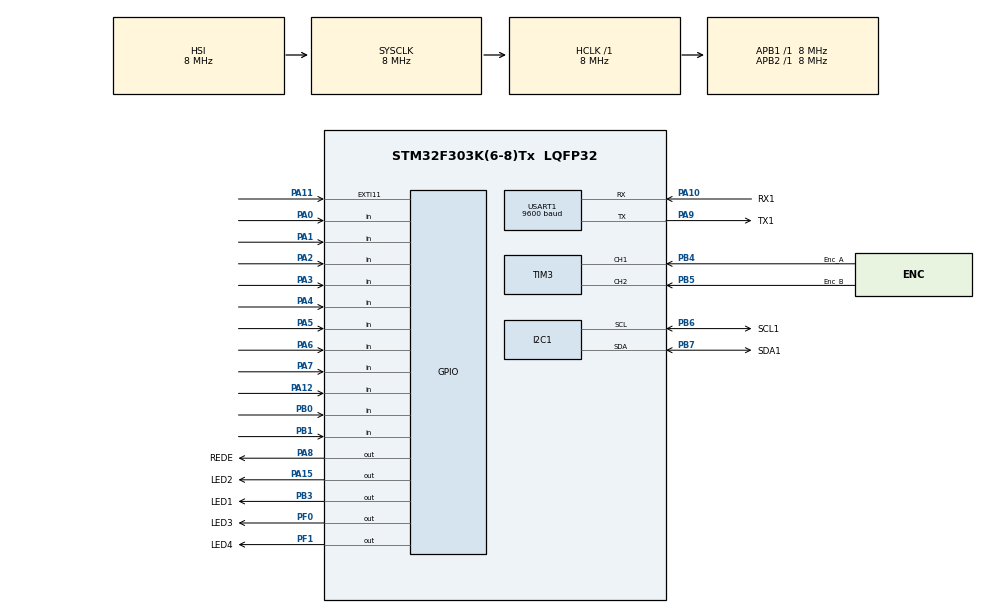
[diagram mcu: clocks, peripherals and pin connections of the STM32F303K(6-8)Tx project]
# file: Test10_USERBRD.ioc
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Dma.Request0=USART1_RX
Dma.Request1=USART1_TX
Dma.USART1_RX.0.Direction=DMA_PERIPH_TO_MEMORY
Dma.USART1_RX.0.Instance=DMA1_Channel5
Dma.USART1_RX.0.MemDataAlignment=DMA_MDATAALIGN_BYTE
Dma.USART1_RX.0.MemInc=DMA_MINC_ENABLE
Dma.USART1_RX.0.Mode=DMA_CIRCULAR
Dma.USART1_RX.0.PeriphDataAlignment=DMA_PDATAALIGN_BYTE
Dma.USART1_RX.0.PeriphInc=DMA_PINC_DISABLE
Dma.USART1_RX.0.Priority=DMA_PRIORITY_LOW
Dma.USART1_TX.1.Direction=DMA_MEMORY_TO_PERIPH
Dma.USART1_TX.1.Instance=DMA1_Channel4
Dma.USART1_TX.1.MemDataAlignment=DMA_MDATAALIGN_BYTE
Dma.USART1_TX.1.MemInc=DMA_MINC_ENABLE
Dma.USART1_TX.1.Mode=DMA_CIRCULAR
Dma.USART1_TX.1.PeriphDataAlignment=DMA_PDATAALIGN_BYTE
Dma.USART1_TX.1.PeriphInc=DMA_PINC_DISABLE
Dma.USART1_TX.1.Priority=DMA_PRIORITY_LOW
I2C1.Timing=0x2000090E
Mcu.Family=STM32F3
Mcu.Name=STM32F303K(6-8)Tx
Mcu.Package=LQFP32
NVIC.DMA1_Channel4_IRQn=true\:0\:0\:false\:true\:true\:1
NVIC.DMA1_Channel5_IRQn=true\:0\:0\:false\:true\:true\:2
NVIC.EXTI15_10_IRQn=true\:0\:0\:false\:true\:true\:4
NVIC.PriorityGroup=NVIC_PRIORITYGROUP_4
NVIC.TIM1_BRK_TIM15_IRQn=true\:0\:0\:false\:false\:true
NVIC.USART1_IRQn=true\:0\:0\:false\:true\:true\:3
PA0.Signal=GPIO_Input
PA1.Signal=GPIO_Input
PA10.GPIO_Label=RX1
PA10.Mode=Asynchronous
PA10.Signal=USART1_RX
PA11.Signal=GPXTI11
PA12.Signal=GPIO_Input
PA13.Mode=Serial_Wire
PA13.Signal=SYS_JTMS-SWDIO
PA14.Mode=Serial_Wire
PA14.Signal=SYS_JTCK-SWCLK
PA15.GPIO_Label=LED2
PA15.Signal=GPIO_Output
PA2.Signal=GPIO_Input
PA3.Signal=GPIO_Input
PA4.Signal=GPIO_Input
PA5.Signal=GPIO_Input
PA6.Signal=GPIO_Input
PA7.Signal=GPIO_Input
PA8.GPIO_Label=REDE
PA8.Signal=GPIO_Output
PA9.GPIO_Label=TX1
PA9.Mode=Asynchronous
PA9.Signal=USART1_TX
PB0.Signal=GPIO_Input
PB1.Signal=GPIO_Input
PB3.GPIO_Label=LED1
PB3.Signal=GPIO_Output
PB4.GPIO_Label=Enc_A
PB4.GPIO_PuPd=GPIO_PULLUP
PB4.Signal=S_TIM3_CH1
PB5.GPIO_Label=Enc_B
PB5.GPIO_PuPd=GPIO_PULLUP
PB5.Signal=S_TIM3_CH2
PB6.GPIO_Label=SCL1
PB6.Mode=I2C
PB6.Signal=I2C1_SCL
PB7.GPIO_Label=SDA1
PB7.Mode=I2C
PB7.Signal=I2C1_SDA
PF0\ /\ OSC_IN.GPIO_Label=LED3
PF0\ /\ OSC_IN.Signal=GPIO_Output
PF1\ /\ OSC_OUT.GPIO_Label=LED4
PF1\ /\ OSC_OUT.Signal=GPIO_Output
ProjectManager.HeapSize=0x200
ProjectManager.StackSize=0x400
ProjectManager.TargetToolchain=SW4STM32
RCC.AHBFreq_Value=8000000
RCC.APB1Freq_Value=8000000
RCC.APB2Freq_Value=8000000
RCC.CortexFreq_Value=8000000
RCC.HSE_VALUE=8000000
RCC.HSI_VALUE=8000000
RCC.SYSCLKFreq_VALUE=8000000
SH.S_TIM3_CH1.0=TIM3_CH1,Encoder_Interface
SH.S_TIM3_CH2.0=TIM3_CH2,Encoder_Interface
TIM15.Period=1000
TIM15.Prescaler=8000
USART1.BaudRate=9600
USART1.WordLength=UART_WORDLENGTH_8B
VP_TIM15_VS_ClockSourceINT.Mode=Internal
board=Test10_USERBRD

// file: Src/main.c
/**
  ******************************************************************************
  * File Name          : main.c
  * Description        : Main program body
  ******************************************************************************
  *
  * COPYRIGHT(c) 2017 STMicroelectronics
  *
  * Redistribution and use in source and binary forms, with or without modification,
  * are permitted provided that the following conditions are met:
  *   1. Redistributions of source code must retain the above copyright notice,
  *      this list of conditions and the following disclaimer.
  *   2. Redistributions in binary form must reproduce the above copyright notice,
  *      this list of conditions and the following disclaimer in the documentation
  *      and/or other materials provided with the distribution.
  *   3. Neither the name of STMicroelectronics nor the names of its contributors
  *      may be used to endorse or promote products derived from this software
  *      without specific prior written permission.
  *
  * THIS SOFTWARE IS PROVIDED BY THE COPYRIGHT HOLDERS AND CONTRIBUTORS "AS IS"
  * AND ANY EXPRESS OR IMPLIED WARRANTIES, INCLUDING, BUT NOT LIMITED TO, THE
  * IMPLIED WARRANTIES OF MERCHANTABILITY AND FITNESS FOR A PARTICULAR PURPOSE ARE
  * DISCLAIMED. IN NO EVENT SHALL THE COPYRIGHT HOLDER OR CONTRIBUTORS BE LIABLE
  * FOR ANY DIRECT, INDIRECT, INCIDENTAL, SPECIAL, EXEMPLARY, OR CONSEQUENTIAL
  * DAMAGES (INCLUDING, BUT NOT LIMITED TO, PROCUREMENT OF SUBSTITUTE GOODS OR
  * SERVICES; LOSS OF USE, DATA, OR PROFITS; OR BUSINESS INTERRUPTION) HOWEVER
  * CAUSED AND ON ANY THEORY OF LIABILITY, WHETHER IN CONTRACT, STRICT LIABILITY,
  * OR TORT (INCLUDING NEGLIGENCE OR OTHERWISE) ARISING IN ANY WAY OUT OF THE USE
  * OF THIS SOFTWARE, EVEN IF ADVISED OF THE POSSIBILITY OF SUCH DAMAGE.
  *
  ******************************************************************************
  */
#include "main.h"
#include "stm32f3xx_hal.h"

/* USER CODE BEGIN Includes */
#include<strings.h>
//#define debug_print(dat,fmt,...) sprintf(dat,fmt,__VA_ARGS__);HAL_UART_Transmit(&huart1,dat,strlen(dat),1)
/* USER CODE END Includes */

I2C_HandleTypeDef hi2c1;

TIM_HandleTypeDef htim3;
TIM_HandleTypeDef htim15;

UART_HandleTypeDef huart1;
DMA_HandleTypeDef hdma_usart1_rx;
DMA_HandleTypeDef hdma_usart1_tx;

/* USER CODE BEGIN PV */
/* Private variables ---------------------------------------------------------*/
enum{
	ON = 1,
	OFF = 0,
	TX_SIZE = 1024,
	ACX = 0x3b,
	ACY = 0x3d,
	ACZ = 0x3f,
	GYR = 0x43,
	GYP = 0x45,
	GYY = 0x47
};
enum{
	GYR_RANGE_250DPS=0,
	GYR_RANGE_500DPS=1,
	GYR_RANGE_1000DPS=2,
	GYR_RANGE_2000DPS=3
};
enum{
	ACC_RANGE_2G=0,
	ACC_RANGE_4G=1,
	ACC_RANGE_8G=2,
	ACC_RANGE_16G=3
};
float angle =0.0;
uint8_t data[TX_SIZE];
uint8_t PROGRAM_START_flg = OFF;
/* USER CODE END PV */

void SystemClock_Config(void);
void Error_Handler(void);
static void MX_GPIO_Init(void);
static void MX_DMA_Init(void);
static void MX_I2C1_Init(void);
static void MX_TIM3_Init(void);
static void MX_TIM15_Init(void);
static void MX_USART1_UART_Init(void);
static void MX_NVIC_Init(void);

/* USER CODE BEGIN PFP */
/* Private function prototypes -----------------------------------------------*/
int16_t MPU6050_Read16bit(uint8_t addr);
int16_t MPU6050_GetGyroR(void);
int16_t MPU6050_GetGyroP(void);
int16_t MPU6050_GetGyroY(void);
int16_t MPU6050_GetAccX(void);
int16_t MPU6050_GetAccY(void);
int16_t MPU6050_GetAccZ(void);
void MPU6050_Setup(uint8_t Gyrange,uint8_t Acrange);
uint8_t MPU6050_WhoAmI();
void calc_MPU();
/* USER CODE END PFP */

/* USER CODE BEGIN 0 */

/*---------------------------------------------------------------------------------------------*/
/* USER CODE END 0 */

int main(void)
{

  /* USER CODE BEGIN 1 */
	uint8_t i=0;
	uint8_t send=0;
	uint8_t tmp[]={0,0};
	uint8_t read[]={0x00,0x00,0x00};
	int16_t accel[]={0,0,0};
	int16_t gyro[]={0,0,0};
  /* USER CODE END 1 */

  /* MCU Configuration----------------------------------------------------------*/

  /* Reset of all peripherals, Initializes the Flash interface and the Systick. */
  HAL_Init();

  /* Configure the system clock */
  SystemClock_Config();

  /* Initialize all configured peripherals */
  MX_GPIO_Init();
  MX_DMA_Init();
  MX_I2C1_Init();
  MX_TIM3_Init();
  MX_TIM15_Init();
  MX_USART1_UART_Init();

  /* Initialize interrupts */
  MX_NVIC_Init();

  /* USER CODE BEGIN 2 */
	while(PROGRAM_START_flg == OFF);
	HAL_TIM_Base_Start_IT(&htim15);

	MPU6050_WhoAmI();
	MPU6050_Setup(GYR_RANGE_2000DPS,ACC_RANGE_8G);

  /* USER CODE END 2 */

  /* Infinite loop */
  /* USER CODE BEGIN WHILE */

	HAL_GPIO_WritePin(LED3_GPIO_Port,LED3_Pin,GPIO_PIN_RESET);
	HAL_GPIO_WritePin(LED4_GPIO_Port,LED4_Pin,GPIO_PIN_SET);
  while (PROGRAM_START_flg == ON)
 	{
		HAL_GPIO_TogglePin(LED3_GPIO_Port,LED3_Pin);
		HAL_GPIO_TogglePin(LED4_GPIO_Port,LED4_Pin);
		HAL_Delay(100);
  /* USER CODE END WHILE */

 	/* USER CODE BEGIN 3 */
		gyro[2] = MPU6050_GetGyroY();
		sprintf(data,"%ld\n",(int16_t)(angle));
		HAL_UART_Transmit(&huart1,data,strlen(data),1);
  }
/*---------------------------------------------------------------------------------------------*/
  /* USER CODE END 3 */

}
/** System Clock Configuration
*/
void SystemClock_Config(void)
{

  RCC_OscInitTypeDef RCC_OscInitStruct;
  RCC_ClkInitTypeDef RCC_ClkInitStruct;
  RCC_PeriphCLKInitTypeDef PeriphClkInit;

    /**Initializes the CPU, AHB and APB busses clocks
    */
  RCC_OscInitStruct.OscillatorType = RCC_OSCILLATORTYPE_HSI;
  RCC_OscInitStruct.HSIState = RCC_HSI_ON;
  RCC_OscInitStruct.HSICalibrationValue = 16;
  RCC_OscInitStruct.PLL.PLLState = RCC_PLL_NONE;
  if (HAL_RCC_OscConfig(&RCC_OscInitStruct) != HAL_OK)
  {
    Error_Handler();
  }

    /**Initializes the CPU, AHB and APB busses clocks
    */
  RCC_ClkInitStruct.ClockType = RCC_CLOCKTYPE_HCLK|RCC_CLOCKTYPE_SYSCLK
                              |RCC_CLOCKTYPE_PCLK1|RCC_CLOCKTYPE_PCLK2;
  RCC_ClkInitStruct.SYSCLKSource = RCC_SYSCLKSOURCE_HSI;
  RCC_ClkInitStruct.AHBCLKDivider = RCC_SYSCLK_DIV1;
  RCC_ClkInitStruct.APB1CLKDivider = RCC_HCLK_DIV1;
  RCC_ClkInitStruct.APB2CLKDivider = RCC_HCLK_DIV1;

  if (HAL_RCC_ClockConfig(&RCC_ClkInitStruct, FLASH_LATENCY_0) != HAL_OK)
  {
    Error_Handler();
  }

  PeriphClkInit.PeriphClockSelection = RCC_PERIPHCLK_USART1|RCC_PERIPHCLK_I2C1;
  PeriphClkInit.Usart1ClockSelection = RCC_USART1CLKSOURCE_PCLK1;
  PeriphClkInit.I2c1ClockSelection = RCC_I2C1CLKSOURCE_HSI;
  if (HAL_RCCEx_PeriphCLKConfig(&PeriphClkInit) != HAL_OK)
  {
    Error_Handler();
  }

    /**Configure the Systick interrupt time
    */
  HAL_SYSTICK_Config(HAL_RCC_GetHCLKFreq()/1000);

    /**Configure the Systick
    */
  HAL_SYSTICK_CLKSourceConfig(SYSTICK_CLKSOURCE_HCLK);

  /* SysTick_IRQn interrupt configuration */
  HAL_NVIC_SetPriority(SysTick_IRQn, 0, 0);
}

/** NVIC Configuration
*/
static void MX_NVIC_Init(void)
{
  /* DMA1_Channel4_IRQn interrupt configuration */
  HAL_NVIC_SetPriority(DMA1_Channel4_IRQn, 0, 0);
  HAL_NVIC_EnableIRQ(DMA1_Channel4_IRQn);
  /* DMA1_Channel5_IRQn interrupt configuration */
  HAL_NVIC_SetPriority(DMA1_Channel5_IRQn, 0, 0);
  HAL_NVIC_EnableIRQ(DMA1_Channel5_IRQn);
  /* USART1_IRQn interrupt configuration */
  HAL_NVIC_SetPriority(USART1_IRQn, 0, 0);
  HAL_NVIC_EnableIRQ(USART1_IRQn);
  /* EXTI15_10_IRQn interrupt configuration */
  HAL_NVIC_SetPriority(EXTI15_10_IRQn, 0, 0);
  HAL_NVIC_EnableIRQ(EXTI15_10_IRQn);
}

/* I2C1 init function */
static void MX_I2C1_Init(void)
{

  hi2c1.Instance = I2C1;
  hi2c1.Init.Timing = 0x2000090E;
  hi2c1.Init.OwnAddress1 = 0;
  hi2c1.Init.AddressingMode = I2C_ADDRESSINGMODE_7BIT;
  hi2c1.Init.DualAddressMode = I2C_DUALADDRESS_DISABLE;
  hi2c1.Init.OwnAddress2 = 0;
  hi2c1.Init.OwnAddress2Masks = I2C_OA2_NOMASK;
  hi2c1.Init.GeneralCallMode = I2C_GENERALCALL_DISABLE;
  hi2c1.Init.NoStretchMode = I2C_NOSTRETCH_DISABLE;
  if (HAL_I2C_Init(&hi2c1) != HAL_OK)
  {
    Error_Handler();
  }

    /**Configure Analogue filter
    */
  if (HAL_I2CEx_ConfigAnalogFilter(&hi2c1, I2C_ANALOGFILTER_ENABLE) != HAL_OK)
  {
    Error_Handler();
  }

}

/* TIM3 init function */
static void MX_TIM3_Init(void)
{

  TIM_Encoder_InitTypeDef sConfig;
  TIM_MasterConfigTypeDef sMasterConfig;

  htim3.Instance = TIM3;
  htim3.Init.Prescaler = 0;
  htim3.Init.CounterMode = TIM_COUNTERMODE_UP;
  htim3.Init.Period = 0;
  htim3.Init.ClockDivision = TIM_CLOCKDIVISION_DIV1;
  sConfig.EncoderMode = TIM_ENCODERMODE_TI1;
  sConfig.IC1Polarity = TIM_ICPOLARITY_RISING;
  sConfig.IC1Selection = TIM_ICSELECTION_DIRECTTI;
  sConfig.IC1Prescaler = TIM_ICPSC_DIV1;
  sConfig.IC1Filter = 0;
  sConfig.IC2Polarity = TIM_ICPOLARITY_RISING;
  sConfig.IC2Selection = TIM_ICSELECTION_DIRECTTI;
  sConfig.IC2Prescaler = TIM_ICPSC_DIV1;
  sConfig.IC2Filter = 0;
  if (HAL_TIM_Encoder_Init(&htim3, &sConfig) != HAL_OK)
  {
    Error_Handler();
  }

  sMasterConfig.MasterOutputTrigger = TIM_TRGO_RESET;
  sMasterConfig.MasterSlaveMode = TIM_MASTERSLAVEMODE_DISABLE;
  if (HAL_TIMEx_MasterConfigSynchronization(&htim3, &sMasterConfig) != HAL_OK)
  {
    Error_Handler();
  }

}

/* TIM15 init function */
static void MX_TIM15_Init(void)
{

  TIM_ClockConfigTypeDef sClockSourceConfig;
  TIM_MasterConfigTypeDef sMasterConfig;

  htim15.Instance = TIM15;
  htim15.Init.Prescaler = 8000;
  htim15.Init.CounterMode = TIM_COUNTERMODE_UP;
  htim15.Init.Period = 10;
  htim15.Init.ClockDivision = TIM_CLOCKDIVISION_DIV1;
  htim15.Init.RepetitionCounter = 0;
  if (HAL_TIM_Base_Init(&htim15) != HAL_OK)
  {
    Error_Handler();
  }

  sClockSourceConfig.ClockSource = TIM_CLOCKSOURCE_INTERNAL;
  if (HAL_TIM_ConfigClockSource(&htim15, &sClockSourceConfig) != HAL_OK)
  {
    Error_Handler();
  }

  sMasterConfig.MasterOutputTrigger = TIM_TRGO_RESET;
  sMasterConfig.MasterSlaveMode = TIM_MASTERSLAVEMODE_DISABLE;
  if (HAL_TIMEx_MasterConfigSynchronization(&htim15, &sMasterConfig) != HAL_OK)
  {
    Error_Handler();
  }

}

/* USART1 init function */
static void MX_USART1_UART_Init(void)
{

  huart1.Instance = USART1;
  huart1.Init.BaudRate = 9600;
  huart1.Init.WordLength = UART_WORDLENGTH_8B;
  huart1.Init.StopBits = UART_STOPBITS_1;
  huart1.Init.Parity = UART_PARITY_NONE;
  huart1.Init.Mode = UART_MODE_TX_RX;
  huart1.Init.HwFlowCtl = UART_HWCONTROL_NONE;
  huart1.Init.OverSampling = UART_OVERSAMPLING_16;
  huart1.Init.OneBitSampling = UART_ONE_BIT_SAMPLE_DISABLE;
  huart1.AdvancedInit.AdvFeatureInit = UART_ADVFEATURE_NO_INIT;
  if (HAL_UART_Init(&huart1) != HAL_OK)
  {
    Error_Handler();
  }

}

static void MX_DMA_Init(void)
{
  /* DMA controller clock enable */
  __HAL_RCC_DMA1_CLK_ENABLE();

}

/** Configure pins as
        * Analog
        * Input
        * Output
        * EVENT_OUT
        * EXTI
*/
static void MX_GPIO_Init(void)
{

  GPIO_InitTypeDef GPIO_InitStruct;

  /* GPIO Ports Clock Enable */
  __HAL_RCC_GPIOF_CLK_ENABLE();
  __HAL_RCC_GPIOA_CLK_ENABLE();
  __HAL_RCC_GPIOB_CLK_ENABLE();

  /*Configure GPIO pin Output Level */
  HAL_GPIO_WritePin(GPIOF, LED3_Pin|LED4_Pin, GPIO_PIN_RESET);

  /*Configure GPIO pin Output Level */
  HAL_GPIO_WritePin(GPIOA, REDE_Pin|LED2_Pin, GPIO_PIN_RESET);

  /*Configure GPIO pin Output Level */
  HAL_GPIO_WritePin(LED1_GPIO_Port, LED1_Pin, GPIO_PIN_RESET);

  /*Configure GPIO pins : LED3_Pin LED4_Pin */
  GPIO_InitStruct.Pin = LED3_Pin|LED4_Pin;
  GPIO_InitStruct.Mode = GPIO_MODE_OUTPUT_PP;
  GPIO_InitStruct.Pull = GPIO_NOPULL;
  GPIO_InitStruct.Speed = GPIO_SPEED_FREQ_LOW;
  HAL_GPIO_Init(GPIOF, &GPIO_InitStruct);

  /*Configure GPIO pins : PA0 PA1 PA2 PA3
                           PA4 PA5 PA6 PA7
                           PA12 */
  GPIO_InitStruct.Pin = GPIO_PIN_0|GPIO_PIN_1|GPIO_PIN_2|GPIO_PIN_3
                          |GPIO_PIN_4|GPIO_PIN_5|GPIO_PIN_6|GPIO_PIN_7
                          |GPIO_PIN_12;
  GPIO_InitStruct.Mode = GPIO_MODE_INPUT;
  GPIO_InitStruct.Pull = GPIO_NOPULL;
  HAL_GPIO_Init(GPIOA, &GPIO_InitStruct);

  /*Configure GPIO pins : PB0 PB1 */
  GPIO_InitStruct.Pin = GPIO_PIN_0|GPIO_PIN_1;
  GPIO_InitStruct.Mode = GPIO_MODE_INPUT;
  GPIO_InitStruct.Pull = GPIO_NOPULL;
  HAL_GPIO_Init(GPIOB, &GPIO_InitStruct);

  /*Configure GPIO pins : REDE_Pin LED2_Pin */
  GPIO_InitStruct.Pin = REDE_Pin|LED2_Pin;
  GPIO_InitStruct.Mode = GPIO_MODE_OUTPUT_PP;
  GPIO_InitStruct.Pull = GPIO_NOPULL;
  GPIO_InitStruct.Speed = GPIO_SPEED_FREQ_LOW;
  HAL_GPIO_Init(GPIOA, &GPIO_InitStruct);

  /*Configure GPIO pin : PA11 */
  GPIO_InitStruct.Pin = GPIO_PIN_11;
  GPIO_InitStruct.Mode = GPIO_MODE_IT_RISING;
  GPIO_InitStruct.Pull = GPIO_NOPULL;
  HAL_GPIO_Init(GPIOA, &GPIO_InitStruct);

  /*Configure GPIO pin : LED1_Pin */
  GPIO_InitStruct.Pin = LED1_Pin;
  GPIO_InitStruct.Mode = GPIO_MODE_OUTPUT_PP;
  GPIO_InitStruct.Pull = GPIO_NOPULL;
  GPIO_InitStruct.Speed = GPIO_SPEED_FREQ_LOW;
  HAL_GPIO_Init(LED1_GPIO_Port, &GPIO_InitStruct);

}

/* USER CODE BEGIN 4 */
void calc_MPU(){
	angle += (((float)(MPU6050_GetGyroY()-50))/16.4)*0.01;
}
uint8_t MPU6050_WhoAmI(){
	uint8_t rx;
	//who_am_i
	HAL_I2C_Mem_Read(&hi2c1,0xD0,0x75,I2C_MEMADD_SIZE_8BIT,&rx,1,10);
	return rx;
}
void MPU6050_Setup(uint8_t Gyrange,uint8_t Acrange){
	uint8_t send;
	//SMPLRT_DIV
	send = 0x00;
	HAL_I2C_Mem_Write(&hi2c1,0xD0,0x19,I2C_MEMADD_SIZE_8BIT,&send,1,10);
	//PWR_MGMT_1
	send = 0x00;
	HAL_I2C_Mem_Write(&hi2c1,0xD0,0x6b,I2C_MEMADD_SIZE_8BIT,&send,1,10);
	//GYRO_CONFIG
	send = (Gyrange & 3) << 3;
	HAL_I2C_Mem_Write(&hi2c1,0xD0,0x1b,I2C_MEMADD_SIZE_8BIT,&send,1,10);
	//ACCEL_CONFIG
	send = (Acrange & 3) << 3;
	HAL_I2C_Mem_Write(&hi2c1,0xD0,0x1c,I2C_MEMADD_SIZE_8BIT,&send,1,10);
	//INT_PIN_CFG
	send = 0x02;
	HAL_I2C_Mem_Write(&hi2c1,0xD0,0x37,I2C_MEMADD_SIZE_8BIT,&send,1,10);
}
int16_t MPU6050_GetGyroR(void){
	return MPU6050_Read16bit(GYR);
}
int16_t MPU6050_GetGyroP(void){
	return MPU6050_Read16bit(GYP);
}
int16_t MPU6050_GetGyroY(void){
	return MPU6050_Read16bit(GYY);
}
int16_t MPU6050_GetAccX(void){
	return MPU6050_Read16bit(ACX);
}
int16_t MPU6050_GetAccY(void){
	return MPU6050_Read16bit(ACY);
}
int16_t MPU6050_GetAccZ(void){
	return MPU6050_Read16bit(ACZ);
}
int16_t MPU6050_Read16bit(uint8_t addr){
	union{
		uint16_t u;
		int16_t i;
	} _u2i;
	uint8_t rx[2];
	HAL_I2C_Mem_Read(&hi2c1,0xD0,addr,I2C_MEMADD_SIZE_8BIT,rx,2,10);
	_u2i.u = (rx[0]<<8)|rx[1];
	return _u2i.i;
}
/* USER CODE END 4 */

void Error_Handler(void)
{
  /* USER CODE BEGIN Error_Handler */
  /* User can add his own implementation to report the HAL error return state */
  while(1)
  {
		HAL_GPIO_TogglePin(LED1_GPIO_Port,LED1_Pin);
		HAL_Delay(50);
  }
  /* USER CODE END Error_Handler */
}

/************************ (C) COPYRIGHT STMicroelectronics *****END OF FILE****/
